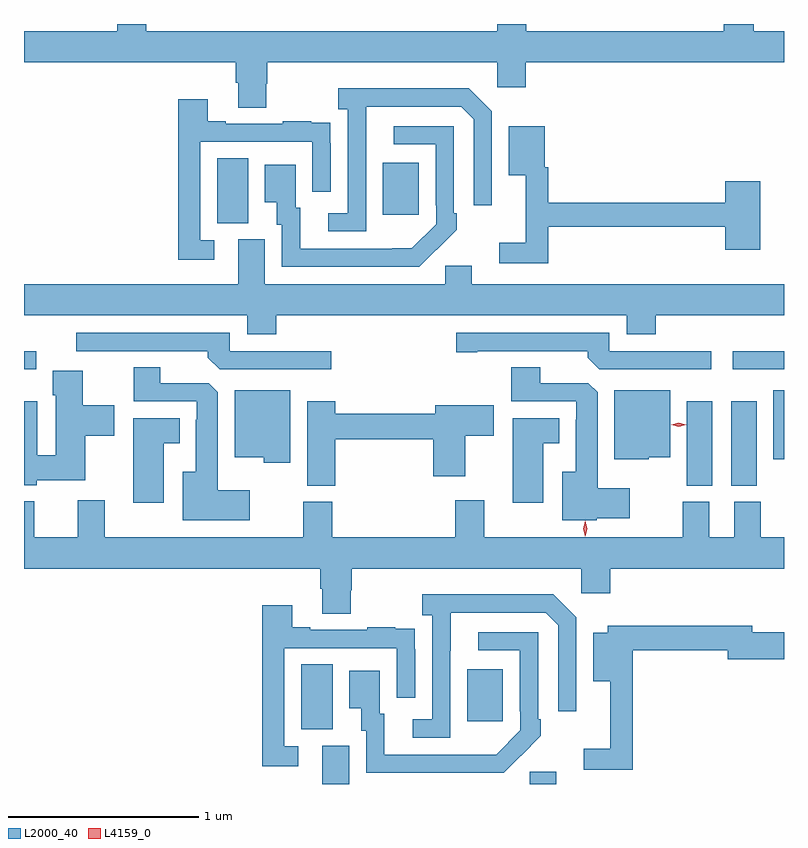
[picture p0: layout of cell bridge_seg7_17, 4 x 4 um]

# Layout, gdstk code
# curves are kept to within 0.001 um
import gdstk
lib = gdstk.Library(unit=1e-6, precision=1e-09)
def R(c, l, rs):  # rectangles x0, y0, x1, y1
    for r in rs: c.add(gdstk.rectangle(r[:2], r[2:], *l))
def P(c, l, *ps):  # polygons
    for p in ps: c.add(gdstk.Polygon(p, *l))
L2000_40 = (2000, 40)
L4159_0 = (4159, 0)

bridge_seg7_17 = lib.new_cell('bridge_seg7_17')
R(bridge_seg7_17, L2000_40, [(1108.487,1040.774,1108.627,1040.976), (1109.577,1040.774,1109.716,1040.838), (1108.376,1041.061,1108.54,1041.404), (1109.249,1041.105,1109.437,1041.379), (1110.404,1042.345,1110.538,1042.789), (1110.638,1042.345,1110.772,1042.789), (1110.86,1042.484,1110.916,1042.846), (1106.916,1042.956,1106.98,1043.052), (1110.645,1042.956,1110.916,1043.052), (1107.932,1043.725,1108.096,1044.068), (1108.805,1043.769,1108.993,1044.043)])
P(bridge_seg7_17, L2000_40, [(1108.191,1044.459),(1108.196,1044.459),(1108.196,1044.572),(1109.406,1044.572),(1109.406,1044.441),(1109.558,1044.441),(1109.558,1044.572),(1110.916,1044.572),(1110.916,1044.736),(1110.758,1044.736),(1110.758,1044.774),(1110.598,1044.774),(1110.598,1044.736),(1109.56,1044.736),(1109.56,1044.774),(1109.408,1044.774),(1109.408,1044.736),(1107.56,1044.736),(1107.56,1044.774),(1107.408,1044.774),(1107.408,1044.736),(1106.916,1044.736),(1106.916,1044.572),(1108.031,1044.572),(1108.031,1044.466),(1108.043,1044.466),(1108.043,1044.334),(1108.191,1044.334)],
  [(1108.716,1044.139),(1108.717,1044.339),(1109.217,1044.339),(1109.283,1044.273),(1109.283,1043.82),(1109.379,1043.82),(1109.379,1044.315),(1109.258,1044.436),(1108.569,1044.436),(1108.569,1044.326),(1108.62,1044.326),(1108.62,1043.778),(1108.518,1043.778),(1108.518,1043.682),(1108.716,1043.682)],
  [(1107.916,1043.637),(1107.843,1043.637),(1107.843,1044.153),(1108.434,1044.153),(1108.434,1043.892),(1108.53,1043.892),(1108.53,1044.146),(1108.529,1044.146),(1108.529,1044.255),(1108.427,1044.255),(1108.427,1044.262),(1108.279,1044.262),(1108.279,1044.249),(1107.979,1044.249),(1107.979,1044.262),(1107.883,1044.262),(1107.883,1044.379),(1107.727,1044.379),(1107.727,1043.532),(1107.916,1043.532)],
  [(1109.087,1043.587),(1109.088,1043.586),(1109.193,1043.691),(1109.193,1043.779),(1109.178,1043.779),(1109.178,1044.237),(1108.863,1044.237),(1108.863,1044.141),(1109.082,1044.141),(1109.082,1043.821),(1109.085,1043.821),(1109.085,1043.721),(1108.957,1043.593),(1108.369,1043.592),(1108.369,1043.808),(1108.345,1043.808),(1108.345,1044.034),(1108.184,1044.034),(1108.184,1043.837),(1108.247,1043.837),(1108.247,1043.718),(1108.272,1043.718),(1108.272,1043.496),(1108.996,1043.496)],
  [(1109.675,1043.706),(1110.608,1043.706),(1110.608,1043.586),(1110.791,1043.586),(1110.791,1043.947),(1110.608,1043.947),(1110.608,1043.834),(1109.675,1043.834),(1109.675,1044.021),(1109.656,1044.021),(1109.656,1044.235),(1109.468,1044.235),(1109.468,1043.978),(1109.558,1043.978),(1109.558,1043.623),(1109.418,1043.623),(1109.418,1043.514),(1109.675,1043.514)],
  [(1108.244,1043.24),(1110.089,1043.24),(1110.089,1043.141),(1110.242,1043.141),(1110.242,1043.24),(1110.916,1043.24),(1110.916,1043.404),(1109.272,1043.404),(1109.272,1043.502),(1109.133,1043.502),(1109.133,1043.404),(1108.183,1043.404),(1108.183,1043.64),(1108.043,1043.64),(1108.043,1043.404),(1106.916,1043.404),(1106.916,1043.24),(1108.091,1043.24),(1108.091,1043.141),(1108.244,1043.141)],
  [(1110.532,1043.052),(1109.997,1043.052),(1109.997,1043.148),(1109.19,1043.148),(1109.19,1043.047),(1109.302,1043.047),(1109.302,1043.052),(1109.882,1043.052),(1109.882,1043.018),(1109.943,1042.956),(1110.532,1042.956)],
  [(1108.534,1043.052),(1107.999,1043.052),(1107.999,1043.148),(1107.192,1043.148),(1107.192,1043.052),(1107.884,1043.052),(1107.884,1043.018),(1107.945,1042.956),(1108.534,1042.956)],
  [(1109.931,1042.172),(1110.103,1042.172),(1110.103,1042.33),(1109.935,1042.33),(1109.935,1042.835),(1109.886,1042.884),(1109.632,1042.884),(1109.632,1042.967),(1109.48,1042.967),(1109.48,1042.788),(1109.823,1042.788),(1109.823,1042.691),(1109.819,1042.691),(1109.819,1042.417),(1109.75,1042.417),(1109.75,1042.163),(1109.931,1042.163)],
  [(1108.105,1042.321),(1107.937,1042.321),(1107.937,1042.835),(1107.888,1042.884),(1107.634,1042.884),(1107.634,1042.967),(1107.494,1042.967),(1107.494,1042.788),(1107.825,1042.788),(1107.825,1042.691),(1107.821,1042.691),(1107.821,1042.417),(1107.752,1042.417),(1107.752,1042.163),(1108.105,1042.163)],
  [(1106.982,1042.373),(1107.238,1042.373),(1107.238,1042.606),(1107.391,1042.606),(1107.391,1042.768),(1107.226,1042.768),(1107.226,1042.948),(1107.068,1042.948),(1107.068,1042.821),(1107.083,1042.821),(1107.083,1042.503),(1106.986,1042.503),(1106.986,1042.789),(1106.916,1042.789),(1106.916,1042.346),(1106.982,1042.346)],
  [(1110.204,1042.493),(1110.316,1042.493),(1110.316,1042.846),(1110.023,1042.846),(1110.023,1042.484),(1110.204,1042.484)],
  [(1108.318,1042.846),(1108.025,1042.846),(1108.025,1042.493),(1108.179,1042.493),(1108.179,1042.466),(1108.318,1042.466)],
  [(1108.553,1042.588),(1109.069,1042.588),(1109.069,1042.395),(1109.239,1042.395),(1109.239,1042.606),(1109.389,1042.606),(1109.389,1042.768),(1109.081,1042.768),(1109.081,1042.724),(1108.553,1042.724),(1108.553,1042.789),(1108.406,1042.789),(1108.406,1042.345),(1108.553,1042.345)],
  [(1107.652,1042.568),(1107.736,1042.568),(1107.736,1042.699),(1107.491,1042.699),(1107.491,1042.254),(1107.652,1042.254)],
  [(1109.65,1042.568),(1109.734,1042.568),(1109.734,1042.699),(1109.489,1042.699),(1109.489,1042.254),(1109.65,1042.254)],
  [(1108.635,1041.795),(1108.64,1041.795),(1108.64,1041.908),(1109.85,1041.908),(1109.85,1041.777),(1110.002,1041.777),(1110.002,1041.908),(1110.916,1041.908),(1110.916,1042.072),(1110.793,1042.072),(1110.793,1042.26),(1110.653,1042.26),(1110.653,1042.072),(1110.523,1042.072),(1110.523,1042.26),(1110.383,1042.26),(1110.383,1042.072),(1109.338,1042.072),(1109.338,1042.267),(1109.186,1042.267),(1109.186,1042.072),(1108.538,1042.072),(1108.538,1042.26),(1108.385,1042.26),(1108.385,1042.072),(1107.34,1042.072),(1107.34,1042.267),(1107.2,1042.267),(1107.2,1042.072),(1106.971,1042.072),(1106.971,1042.261),(1106.916,1042.261),(1106.916,1041.908),(1108.475,1041.908),(1108.475,1041.802),(1108.487,1041.802),(1108.487,1041.67),(1108.635,1041.67)],
  [(1109.16,1041.475),(1109.161,1041.675),(1109.661,1041.675),(1109.727,1041.609),(1109.727,1041.156),(1109.823,1041.156),(1109.823,1041.651),(1109.702,1041.772),(1109.013,1041.772),(1109.013,1041.662),(1109.064,1041.662),(1109.064,1041.114),(1108.962,1041.114),(1108.962,1041.018),(1109.16,1041.018)],
  [(1108.36,1040.973),(1108.287,1040.973),(1108.287,1041.489),(1108.878,1041.489),(1108.878,1041.228),(1108.974,1041.228),(1108.974,1041.482),(1108.973,1041.482),(1108.973,1041.591),(1108.871,1041.591),(1108.871,1041.598),(1108.723,1041.598),(1108.723,1041.585),(1108.423,1041.585),(1108.423,1041.598),(1108.327,1041.598),(1108.327,1041.715),(1108.171,1041.715),(1108.171,1040.868),(1108.36,1040.868)],
  [(1110.119,1041.478),(1110.62,1041.478),(1110.62,1041.43),(1110.916,1041.43),(1110.916,1041.573),(1110.748,1041.573),(1110.748,1041.607),(1109.988,1041.607),(1109.988,1041.571),(1109.912,1041.571),(1109.912,1041.314),(1110.002,1041.314),(1110.002,1040.959),(1109.862,1040.959),(1109.862,1040.85),(1110.119,1040.85)],
  [(1109.531,1040.923),(1109.532,1040.922),(1109.637,1041.027),(1109.637,1041.115),(1109.622,1041.115),(1109.622,1041.573),(1109.307,1041.573),(1109.307,1041.477),(1109.526,1041.477),(1109.526,1041.157),(1109.529,1041.157),(1109.529,1041.057),(1109.401,1040.929),(1108.813,1040.928),(1108.813,1041.144),(1108.789,1041.144),(1108.789,1041.37),(1108.628,1041.37),(1108.628,1041.173),(1108.691,1041.173),(1108.691,1041.054),(1108.716,1041.054),(1108.716,1040.832),(1109.44,1040.832)])
P(bridge_seg7_17, L4159_0, [(1110.362,1042.655),(1110.322,1042.664),(1110.322,1042.665),(1110.322,1042.665),(1110.362,1042.675),(1110.402,1042.666),(1110.402,1042.666),(1110.402,1042.666)],
  [(1109.869,1042.077),(1109.86,1042.118),(1109.869,1042.158),(1109.87,1042.159),(1109.87,1042.158),(1109.88,1042.118),(1109.87,1042.077),(1109.87,1042.077)])

lib.write_gds('bridge_seg7_17.gds')
